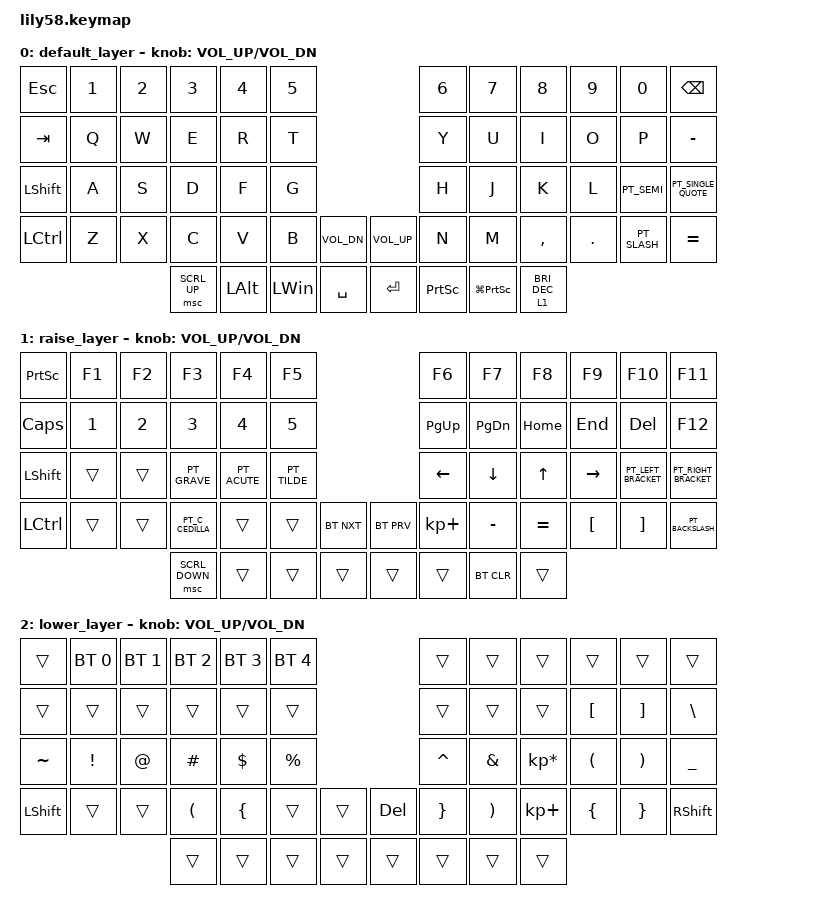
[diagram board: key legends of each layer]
/*
 * Copyright (c) 2020 The ZMK Contributors
 *
 * SPDX-License-Identifier: MIT
 */

#include "keys_pt_abnt2.h"
#include <behaviors.dtsi>
#include <dt-bindings/zmk/bt.h>
#include <dt-bindings/zmk/keys.h>
#include <dt-bindings/zmk/pointing.h>

/ {
    // Combo keys are a way to combine multiple keypresses to output a different key.

    combos {
        compatible = "zmk,combos";

        combo_clear_bluetooth {
            timeout-ms = <50>; // Press all the below keys within 50ms to activate mapping
            key-positions = <52 42 0>; // Press 52=LOWER, 42=[, 0=tilde
            bindings = <&bt BT_CLR>; // activate clear bluetooth bindings for current channel
        };
    };

    macros {
        accent: accent {
            compatible = "zmk,behavior-macro";
            #binding-cells = <0>;
            bindings = <&accent>;
            label = "ACCENT";
        };
    };

    keymap {
        compatible = "zmk,keymap";

        default_layer {
            // ------------------------------------------------------------------------------------------------------------
            // |   `      |  1  |  2  |  3   |  4   |  5   |                   |  6   |  7    |  8    |  9   |   0   |   -   |
            // |  TAB     |  Q  |  W  |  E   |  R   |  T   |                   |  Y   |  U    |  I    |  O   |   P   |   =   |
            // |hCTRL tESC|  A  |  S  |  D   |  F   |  G   |                   |  H   |  J    |  K    |  L   |   ;   |   '   |
            // | SHIFT    |  Z  |  X  |  C   |  V   |  B   |   "["  |  |  "]"  |  N   |  M    |  ,    |  .   |   /   | SHIFT |
            //                        | ALT  | GUI  | LOWER|  SPACE |  | BSPC  | ENTER| RAISE | CTRL  |

            bindings = <
&kp ESC     &kp N1  &kp N2  &kp N3        &kp N4    &kp N5                                  &kp N6           &kp N7               &kp N8                  &kp N9   &kp N0        &kp BACKSPACE
&kp TAB     &kp Q   &kp W   &kp E         &kp R     &kp T                                   &kp Y            &kp U                &kp I                   &kp O    &kp P         &kp MINUS
&kp LSHIFT  &kp A   &kp S   &kp D         &kp F     &kp G                                   &kp H            &kp J                &kp K                   &kp L    &kp PT_SEMI   &kp PT_SINGLE_QUOTE
&kp LCTRL   &kp Z   &kp X   &kp C         &kp V     &kp B     &kp C_VOL_DN    &kp C_VOL_UP  &kp N            &kp M                &kp COMMA               &kp DOT  &kp PT_SLASH  &kp EQUAL
                            &msc SCRL_UP  &kp LALT  &kp LWIN  &kp SPACE       &kp ENTER     &kp PRINTSCREEN  &kp LG(PRINTSCREEN)  &lt 1 C_BRIGHTNESS_DEC
            >;

            sensor-bindings = <&inc_dec_kp C_VOL_UP C_VOL_DN>;
        };

        raise_layer {
            // ------------------------------------------------------------------------------------------------------------
            // |  F12    |  F1 |  F2 |  F3  |  F4  |  F5  |                   |  F6  |   F7  |   F8  |  F9  |  F10  |  F11  |
            // |   `     |  1  |  2  |  3   |  4   |  5   |                   |  6   |   7   |   8   |  9   |   0   |   -   |
            // |CTRL/ESC |     |     |      |      |      |                   |  <-  |   ^   |   v   |  ->  |       |       |
            // | SHIFT   |     |     |      |      |      |        |  |       |  +   |   -   |   =   |  [   |   ]   |   \   |
            //                       |      |      |      |        |  |       |      |       |       |

            bindings = <
&kp PRINTSCREEN   &kp F1  &kp F2  &kp F3            &kp F4        &kp F5                                  &kp F6       &kp F7         &kp F8     &kp F9     &kp F10              &kp F11
&kp CAPSLOCK      &kp N1  &kp N2  &kp N3            &kp N4        &kp N5                                  &kp PAGE_UP  &kp PAGE_DOWN  &kp HOME   &kp END    &kp DEL              &kp F12
&kp LSHIFT        &trans  &trans  &kp PT_GRAVE      &kp PT_ACUTE  &kp PT_TILDE                            &kp LEFT     &kp DOWN       &kp UP     &kp RIGHT  &kp PT_LEFT_BRACKET  &kp PT_RIGHT_BRACKET
&kp LEFT_CONTROL  &trans  &trans  &kp PT_C_CEDILLA  &trans        &trans        &bt BT_NXT    &bt BT_PRV  &kp KP_PLUS  &kp MINUS      &kp EQUAL  &kp LBKT   &kp RBKT             &kp PT_BACKSLASH
                                  &msc SCRL_DOWN    &trans        &trans        &trans        &trans      &trans       &bt BT_CLR     &trans
            >;

            sensor-bindings = <&inc_dec_kp C_VOL_UP C_VOL_DN>;
        };

        lower_layer {
            // ------------------------------------------------------------------------------------------------------------
            // |          | BT1     | BT2    |  BT3 |  BT4  |  BT5 |                    |      |       |       |      |       |       |
            // |          |         |        |      |       |      |                    |      |       |       |  [   |   ]   |   \   |
            // |   ~      |  !      |  @     |  #   |  $    |  %   |                    |  ^   |  &    |  *    |  (   |   )   |   _   |
            // | SHIFT    |  EP_ON  | EP_OFF |      |  (    |  {   |       |  |   DEL   |  }   |  )    |  +    |  {   |   }   | SHIFT |
            //                               |      |       |      |       |  |         |      |       |       |

            bindings = <
&trans      &bt BT_SEL 0  &bt BT_SEL 1  &bt BT_SEL 2  &bt BT_SEL 3  &bt BT_SEL 4                     &trans     &trans    &trans           &trans    &trans    &trans
&trans      &trans        &trans        &trans        &trans        &trans                           &trans     &trans    &trans           &kp LBKT  &kp RBKT  &kp BSLH
&kp TILDE   &kp EXCL      &kp AT        &kp HASH      &kp DOLLAR    &kp PRCNT                        &kp CARET  &kp AMPS  &kp KP_MULTIPLY  &kp LPAR  &kp RPAR  &kp UNDER
&kp LSHIFT  &trans        &trans        &kp LPAR      &kp LBRC      &trans        &trans    &kp DEL  &kp RBRC   &kp RPAR  &kp KP_PLUS      &kp LBRC  &kp RBRC  &kp RSHFT
                                        &trans        &trans        &trans        &trans    &trans   &trans     &trans    &trans
            >;

            sensor-bindings = <&inc_dec_kp C_VOL_UP C_VOL_DN>;
        };
    };

    conditional_layers {
        compatible = "zmk,conditional-layers";

        lay2 {
            if-layers = <1>;
            then-layer = <1>;
        };
    };
};
